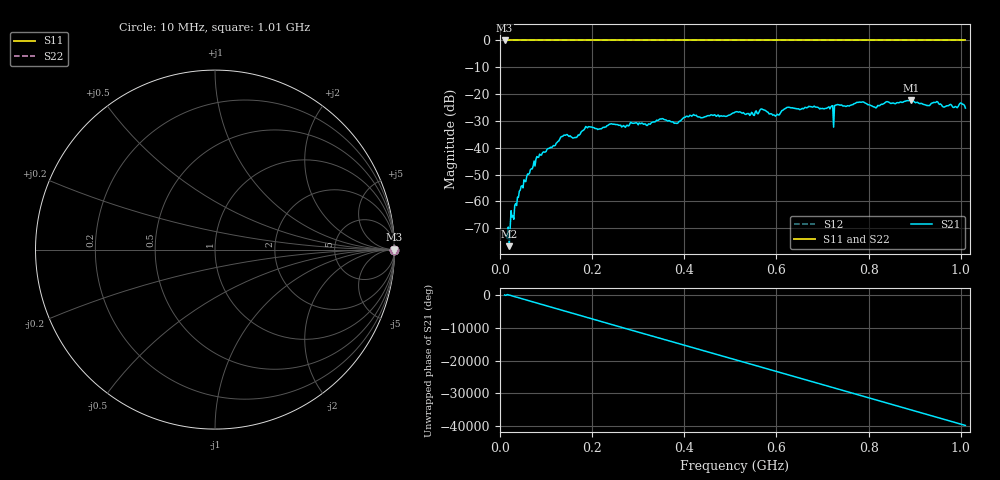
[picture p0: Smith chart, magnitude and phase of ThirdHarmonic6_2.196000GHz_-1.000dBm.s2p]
! 8/17/2025 2:10:51 AM
! C:\ANRITSUVNA\TEMP\TEMP.S2P
! CHANNEL.1
! TR.MEASUREMENT
! RAW.DATA
! RF.CORRECTION.OFF
! AVERAGING.OFF
! IF.BANDWIDTH: 5KHZ
! SWEEPTYPE:  FREQ.SWEEP(Linear)
! Reference Plane Port Info
! PORT:  PORT1  PORT2
! DISTANCE:  0  m  0  m
! TIME:  0  s  0  s
! PHASE.OFFSET:  0  deg.  0  deg.
! LOSS:  0  dB  0  dB
! REF.LOSS:  0  dB  0  dB
! REF.FREQ:  0  Hz  0  Hz
! Power Info
! POWER:  -20  dBm  -20  dBm
! EFF.POWER:  -20  dBm  -20  dBm
! SOURCE.ATTEN:  0  dB  0  dB
! TEST.ATTEN:  0  dB  0  dB
# GHZ S RI R 50.0
! FREQ.GHZ  S11RE  S11IM  S21RE  S21IM  S12RE  S12IM  S22RE  S22IM
!; PortSelection: Port_12
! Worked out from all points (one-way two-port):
!   501 points, 10 MHz to 1.01 GHz, reference 50 ohm
!   highest |S21| = -22.20 dB at 892 MHz (marker M1); lowest = -76.7 dB at 20 MHz (marker M2)
!   lowest |S11| = 0.0 dB at 10 MHz (marker M3)
!   |S11| at or under -10 dB: nowhere
!   |S22| runs from 0.0 to 0.0 dB; largest |S21 - S12| = 1.1
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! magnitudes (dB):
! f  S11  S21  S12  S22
! 10 MHz  0.0  -72.5  0.0  0.0
! 16 MHz  0.0  -73.9  0.0  0.0
! 20 MHz  0.0  -76.7  0.0  0.0
! 42 MHz  0.0  -56.2  0.0  0.0
! 82 MHz  0.0  -43.6  0.0  0.0
! 136 MHz  0.0  -35.8  0.0  0.0
! 162 MHz  0.0  -36.2  0.0  0.0
! 178 MHz  0.0  -33.8  0.0  0.0
! 344 MHz  0.0  -29.7  0.0  0.0
! 382 MHz  0.0  -30.8  0.0  0.0
! 416 MHz  0.0  -28.2  0.0  0.0
! 510 MHz  0.0  -26.7  0.0  0.0
! 570 MHz  0.0  -25.7  0.0  0.0
! 596 MHz  0.0  -27.9  0.0  0.0
! 624 MHz  0.0  -24.9  0.0  0.0
! 678 MHz  0.0  -24.9  0.0  0.0
! 720 MHz  0.0  -24.4  0.0  0.0
! 732 MHz  0.0  -23.9  0.0  0.0
! 814 MHz  0.0  -24.9  0.0  0.0
! 844 MHz  0.0  -23.0  0.0  0.0
! 892 MHz  0.0  -22.2  0.0  0.0
! 1.01 GHz  0.0  -25.2  0.0  0.0
